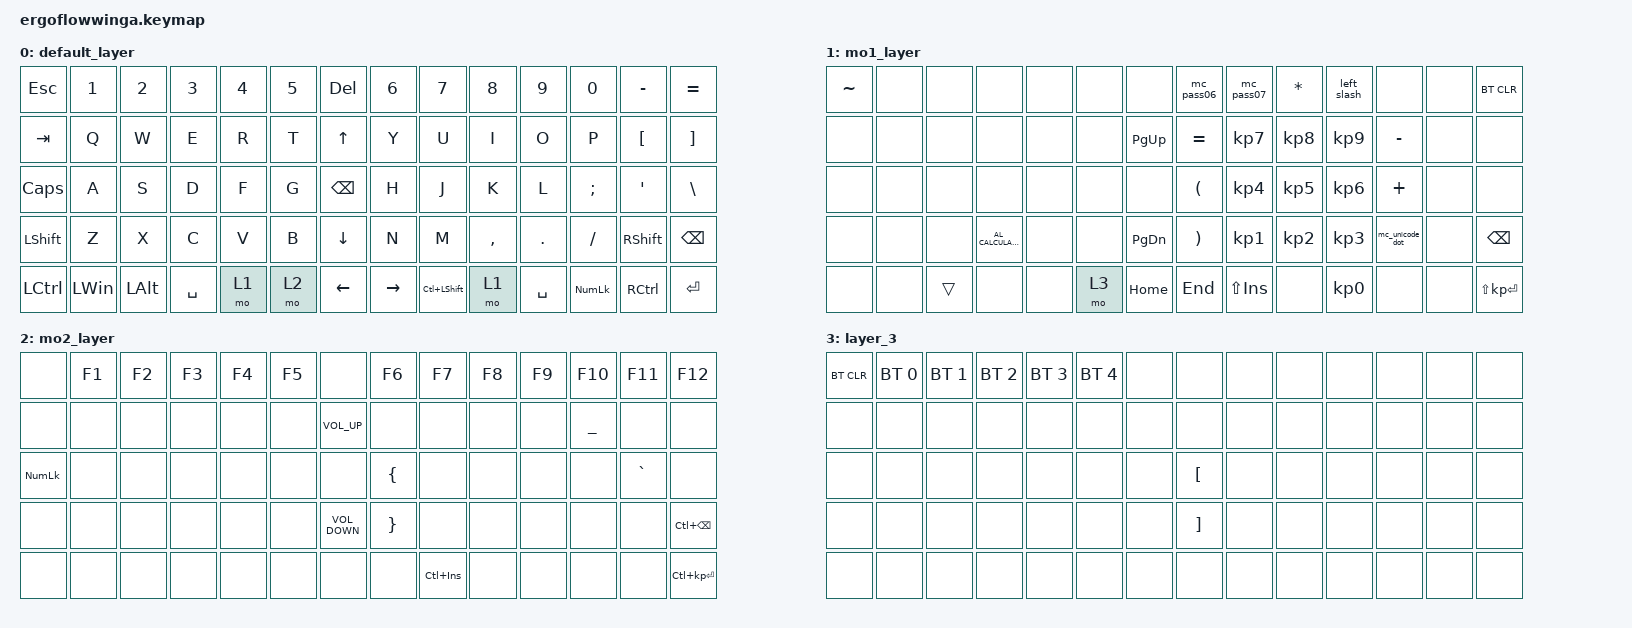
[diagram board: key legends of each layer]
#include <behaviors.dtsi>
#include <dt-bindings/zmk/bt.h>
#include <dt-bindings/zmk/keys.h>

/ {
    macros {
        mc_pass07: pass07 {
            compatible = "zmk,behavior-macro";
            #binding-cells = <0>;
            bindings = <&kp LS(M) &kp B &kp I &kp W &kp B &kp EXCL &kp N9 &kp N8 &kp N0 &kp M &kp B &kp I &kp W &kp B>;
            label = "PASS07";
        };

        mc_unicode_dot: unicode_dot {
            compatible = "zmk,behavior-macro";
            #binding-cells = <0>;
            bindings = <&kt LEFT_ALT &kp KP_NUMBER_4 &kp KP_NUMBER_6 &kt LEFT_ALT>;
            label = "UNICODE_DOT";
        };

        mc_pass06: mc_pass06 {
            compatible = "zmk,behavior-macro";
            #binding-cells = <0>;
            bindings = <&kp N3 &kp N6 &kp N9 &kp N4 &kp N5 &kp N6>;
            label = "MC_PASS06";
        };

        left_slash: left_slash {
            compatible = "zmk,behavior-macro";
            #binding-cells = <0>;
            bindings = <&kt LEFT_ALT &kp KP_NUMBER_4 &kp KP_NUMBER_7 &kt LEFT_ALT>;
            label = "LEFT_SLASH";
        };
    };

    keymap {
        compatible = "zmk,keymap";

        default_layer {
            bindings = <
&kp ESC       &kp N1        &kp N2    &kp N3     &kp N4  &kp N5  &kp DEL   &kp N6     &kp N7          &kp N8     &kp N9     &kp N0          &kp MINUS        &kp EQUAL
&kp TAB       &kp Q         &kp W     &kp E      &kp R   &kp T   &kp UP    &kp Y      &kp U           &kp I      &kp O      &kp P           &kp LBKT         &kp RBKT
&kp CAPSLOCK  &kp A         &kp S     &kp D      &kp F   &kp G   &kp BSPC  &kp H      &kp J           &kp K      &kp L      &kp SEMI        &kp SQT          &kp BSLH
&kp LSHFT     &kp Z         &kp X     &kp C      &kp V   &kp B   &kp DOWN  &kp N      &kp M           &kp COMMA  &kp DOT    &kp FSLH        &kp RIGHT_SHIFT  &kp BSPC
&kp LCTRL     &kp LEFT_WIN  &kp LALT  &kp SPACE  &mo 1   &mo 2   &kp LEFT  &kp RIGHT  &kp LC(LSHIFT)  &mo 1      &kp SPACE  &kp KP_NUMLOCK  &kp RCTRL        &kp RET
            >;
        };

        mo1_layer {
            bindings = <
&kp TILDE  &none  &none   &none                &none  &none  &none      &mc_pass06             &mc_pass07       &kp STAR         &left_slash      &none            &none  &bt BT_CLR
&none      &none  &none   &none                &none  &none  &kp PG_UP  &kp EQUAL              &kp KP_NUMBER_7  &kp KP_NUMBER_8  &kp KP_NUMBER_9  &kp MINUS        &none  &none
&none      &none  &none   &none                &none  &none  &none      &kp LEFT_PARENTHESIS   &kp KP_NUMBER_4  &kp KP_NUMBER_5  &kp KP_NUMBER_6  &kp PLUS         &none  &none
&none      &none  &none   &kp C_AL_CALCULATOR  &none  &none  &kp PG_DN  &kp RIGHT_PARENTHESIS  &kp KP_NUMBER_1  &kp KP_NUMBER_2  &kp KP_NUMBER_3  &mc_unicode_dot  &none  &kp BSPC
&none      &none  &trans  &none                &none  &mo 3  &kp HOME   &kp END                &kp LS(INS)      &none            &kp KP_NUMBER_0  &none            &none  &kp LS(KP_ENTER)
            >;
        };

        mo2_layer {
            bindings = <
&none           &kp F1  &kp F2  &kp F3  &kp F4  &kp F5  &none              &kp F6           &kp F7          &kp F8  &kp F9  &kp F10         &kp F11    &kp F12
&none           &none   &none   &none   &none   &none   &kp C_VOLUME_UP    &none            &none           &none   &none   &kp UNDERSCORE  &none      &none
&kp KP_NUMLOCK  &none   &none   &none   &none   &none   &none              &kp LEFT_BRACE   &none           &none   &none   &none           &kp GRAVE  &none
&none           &none   &none   &none   &none   &none   &kp C_VOLUME_DOWN  &kp RIGHT_BRACE  &none           &none   &none   &none           &none      &kp LC(BACKSPACE)
&none           &none   &none   &none   &none   &none   &none              &none            &kp LC(INSERT)  &none   &none   &none           &none      &kp LC(KP_ENTER)
            >;
        };

        layer_3 {
            bindings = <
&bt BT_CLR  &bt BT_SEL 0  &bt BT_SEL 1  &bt BT_SEL 2  &bt BT_SEL 3  &bt BT_SEL 4  &none  &none              &none  &none  &none  &none  &none  &none
&none       &none         &none         &none         &none         &none         &none  &none              &none  &none  &none  &none  &none  &none
&none       &none         &none         &none         &none         &none         &none  &kp LEFT_BRACKET   &none  &none  &none  &none  &none  &none
&none       &none         &none         &none         &none         &none         &none  &kp RIGHT_BRACKET  &none  &none  &none  &none  &none  &none
&none       &none         &none         &none         &none         &none         &none  &none              &none  &none  &none  &none  &none  &none
            >;
        };
    };
};
